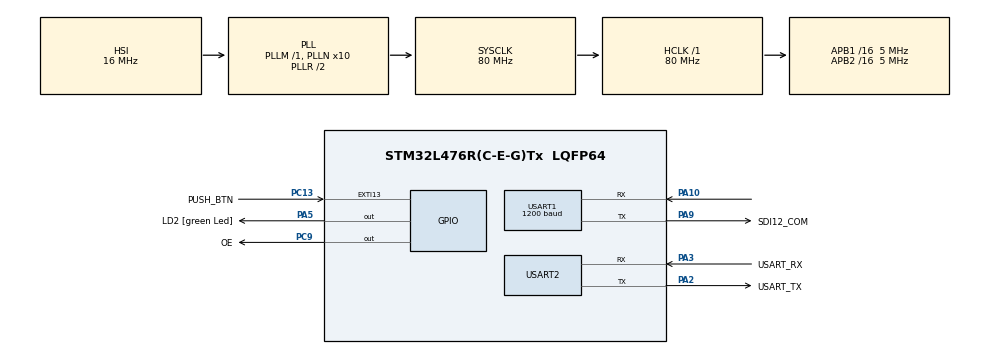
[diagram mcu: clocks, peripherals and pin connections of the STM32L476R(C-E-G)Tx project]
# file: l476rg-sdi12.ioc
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Mcu.Family=STM32L4
Mcu.Name=STM32L476R(C-E-G)Tx
Mcu.Package=LQFP64
NVIC.EXTI15_10_IRQn=true\:0\:0\:false\:false\:true\:true\:true\:true
NVIC.PriorityGroup=NVIC_PRIORITYGROUP_4
NVIC.USART2_IRQn=true\:0\:0\:false\:false\:true\:true\:true\:true
PA10.Mode=Asynchronous
PA10.Signal=USART1_RX
PA13\ (JTMS-SWDIO).GPIO_Label=TMS
PA13\ (JTMS-SWDIO).Mode=Trace_Asynchronous_SW
PA13\ (JTMS-SWDIO).Signal=SYS_JTMS-SWDIO
PA14\ (JTCK-SWCLK).GPIO_Label=TCK
PA14\ (JTCK-SWCLK).Mode=Trace_Asynchronous_SW
PA14\ (JTCK-SWCLK).Signal=SYS_JTCK-SWCLK
PA2.GPIO_Label=USART_TX
PA2.GPIO_Mode=GPIO_MODE_AF_PP
PA2.GPIO_PuPd=GPIO_NOPULL
PA2.GPIO_Speed=GPIO_SPEED_FREQ_VERY_HIGH
PA2.Mode=Asynchronous
PA2.Signal=USART2_TX
PA3.GPIO_Label=USART_RX
PA3.GPIO_Mode=GPIO_MODE_AF_PP
PA3.GPIO_PuPd=GPIO_NOPULL
PA3.GPIO_Speed=GPIO_SPEED_FREQ_VERY_HIGH
PA3.Mode=Asynchronous
PA3.Signal=USART2_RX
PA5.GPIO_Label=LD2 [green Led]
PA5.GPIO_ModeDefaultOutputPP=GPIO_MODE_OUTPUT_PP
PA5.GPIO_PuPd=GPIO_NOPULL
PA5.GPIO_Speed=GPIO_SPEED_FREQ_LOW
PA5.Signal=GPIO_Output
PA9.GPIO_Label=SDI12_COM
PA9.Mode=Asynchronous
PA9.Signal=USART1_TX
PB3\ (JTDO-TRACESWO).GPIO_Label=SWO
PB3\ (JTDO-TRACESWO).Mode=Trace_Asynchronous_SW
PB3\ (JTDO-TRACESWO).Signal=SYS_JTDO-SWO
PC13.GPIO_Label=PUSH_BTN
PC13.Signal=GPXTI13
PC14-OSC32_IN\ (PC14).Mode=LSE-External-Oscillator
PC14-OSC32_IN\ (PC14).Signal=RCC_OSC32_IN
PC15-OSC32_OUT\ (PC15).Mode=LSE-External-Oscillator
PC15-OSC32_OUT\ (PC15).Signal=RCC_OSC32_OUT
PC9.GPIO_Label=OE
PC9.Signal=GPIO_Output
PH0-OSC_IN\ (PH0).Signal=RCC_OSC_IN
PH1-OSC_OUT\ (PH1).Signal=RCC_OSC_OUT
ProjectManager.HeapSize=0x200
ProjectManager.StackSize=0x400
ProjectManager.TargetToolchain=STM32CubeIDE
RCC.ADCFreq_Value=64000000
RCC.AHBFreq_Value=80000000
RCC.APB1CLKDivider=RCC_HCLK_DIV16
RCC.APB1Freq_Value=5000000
RCC.APB1TimFreq_Value=10000000
RCC.APB2CLKDivider=RCC_HCLK_DIV16
RCC.APB2Freq_Value=5000000
RCC.APB2TimFreq_Value=10000000
RCC.CortexFreq_Value=80000000
RCC.HCLKFreq_Value=80000000
RCC.HSE_VALUE=8000000
RCC.HSI_VALUE=16000000
RCC.LPUART1CLockSelection=RCC_LPUART1CLKSOURCE_LSE
RCC.MSI_VALUE=4000000
RCC.PLLN=10
RCC.PLLSourceVirtual=RCC_PLLSOURCE_HSI
RCC.PREFETCH_ENABLE=1
RCC.SYSCLKFreq_VALUE=80000000
RCC.SYSCLKSource=RCC_SYSCLKSOURCE_PLLCLK
RCC.USART2CLockSelection=RCC_USART2CLKSOURCE_SYSCLK
RCC.USBFreq_Value=64000000
RCC.VCOOutputFreq_Value=160000000
USART1.BaudRate=1200
USART1.Parity=PARITY_EVEN
USART1.RxPinLevelInvertParam=ADVFEATURE_RXINV_ENABLE
USART1.SwapParam=ADVFEATURE_SWAP_ENABLE
USART1.TxPinLevelInvertParam=ADVFEATURE_TXINV_ENABLE
USART1.VirtualMode-Asynchronous=VM_ASYNC
USART2.VirtualMode-Asynchronous=VM_ASYNC
board=NUCLEO-L476RG

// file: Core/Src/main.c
/* USER CODE BEGIN Header */
/**
 ******************************************************************************
 * @file           : main.c
 * @brief          : Main program body
 ******************************************************************************
 * @attention
 *
 * Copyright (c) 2022 STMicroelectronics.
 * All rights reserved.
 *
 * This software is licensed under terms that can be found in the LICENSE file
 * in the root directory of this software component.
 * If no LICENSE file comes with this software, it is provided AS-IS.
 *
 ******************************************************************************
 */
/* USER CODE END Header */
#include "main.h"

/* USER CODE BEGIN Includes */
#include "sdi12.h"
#include "sdi12_debug.h"
#include <string.h>
#include <stdio.h>
#include <inttypes.h>
#include <stdbool.h>
#include <time.h>
#include <stdlib.h>
/* USER CODE END Includes */

UART_HandleTypeDef huart1;
UART_HandleTypeDef huart2;

void SystemClock_Config(void);
static void MX_GPIO_Init(void);
static void MX_USART2_UART_Init(void);
static void MX_USART1_UART_Init(void);
/* USER CODE BEGIN PFP */
//void SDI12_Init(UART_HandleTypeDef *huart);
//void SDI12_GetDeviceId(uint8_t *addr);
/* USER CODE END PFP */

/* USER CODE BEGIN 0 */
int _write(int file, char *ptr, int len)
{
	for (int i = 0; i<len; i++)
		ITM_SendChar((*ptr++));
	return len;
}
void send_debug_logs(char *data)
	{
		uint32_t length = strlen(data);
		HAL_UART_Transmit(&huart2, (uint8_t *) data, length, 1000);
		HAL_UART_Transmit(&huart2, (uint8_t *) "\r\n", length, 1000);
	}

/* USER CODE END 0 */

int main(void)
{

  /* MCU Configuration--------------------------------------------------------*/

  /* Reset of all peripherals, Initializes the Flash interface and the Systick. */
  HAL_Init();

  /* Configure the system clock */
  SystemClock_Config();

  /* Initialize all configured peripherals */
  MX_GPIO_Init();
  MX_USART2_UART_Init();
  MX_USART1_UART_Init();
  /* USER CODE BEGIN 2 */

	/*
	 * SDI12 Initliasation
	 */
	SDI12_Init(&huart1);

  /* USER CODE END 2 */

  /* Infinite loop */
  /* USER CODE BEGIN WHILE */
	while (1)
	{
		char addr = '0';

		/*
		 * Measure command (test)
		 */
		SDI12_Measure_TypeDef measurement_info;
		char data[800] = {0};

		//SDI12_AckActive(addr);
		SDI12_StartMeasurement(addr, &measurement_info);
		//HAL_Delay(measurement_info.Time * 1000);
		HAL_Delay(3000);
		SDI12_SendData(addr, &measurement_info, data);

		/*
		 * Verification command (test)
		 */
		//	SDI12_Measure_TypeDef verification_info;
		//	char data[800] = {0};
		//	SDI12_StartVerification(addr, &verification_info);
		//	HAL_Delay(verification_info.Time * 1000); // Requried
		//	SDI12_SendData(addr, &verification_info, data);

		/*
		 * Measure command with CRC (test)
		 */
		//SDI12_Measure_TypeDef measurement_info;
		//char data[800];
		//SDI12_StartMeasurementCRC(addr, &measurement_info);
		//SDI12_SendData(addr, &measurement_info, data);

		HAL_Delay(10000);
    /* USER CODE END WHILE */

	}
}

void SystemClock_Config(void)
{
  RCC_OscInitTypeDef RCC_OscInitStruct = {0};
  RCC_ClkInitTypeDef RCC_ClkInitStruct = {0};

  /** Configure the main internal regulator output voltage
  */
  if (HAL_PWREx_ControlVoltageScaling(PWR_REGULATOR_VOLTAGE_SCALE1) != HAL_OK)
  {
    Error_Handler();
  }

  /** Initializes the RCC Oscillators according to the specified parameters
  * in the RCC_OscInitTypeDef structure.
  */
  RCC_OscInitStruct.OscillatorType = RCC_OSCILLATORTYPE_HSI;
  RCC_OscInitStruct.HSIState = RCC_HSI_ON;
  RCC_OscInitStruct.HSICalibrationValue = RCC_HSICALIBRATION_DEFAULT;
  RCC_OscInitStruct.PLL.PLLState = RCC_PLL_ON;
  RCC_OscInitStruct.PLL.PLLSource = RCC_PLLSOURCE_HSI;
  RCC_OscInitStruct.PLL.PLLM = 1;
  RCC_OscInitStruct.PLL.PLLN = 10;
  RCC_OscInitStruct.PLL.PLLP = RCC_PLLP_DIV7;
  RCC_OscInitStruct.PLL.PLLQ = RCC_PLLQ_DIV2;
  RCC_OscInitStruct.PLL.PLLR = RCC_PLLR_DIV2;
  if (HAL_RCC_OscConfig(&RCC_OscInitStruct) != HAL_OK)
  {
    Error_Handler();
  }

  /** Initializes the CPU, AHB and APB buses clocks
  */
  RCC_ClkInitStruct.ClockType = RCC_CLOCKTYPE_HCLK|RCC_CLOCKTYPE_SYSCLK
                              |RCC_CLOCKTYPE_PCLK1|RCC_CLOCKTYPE_PCLK2;
  RCC_ClkInitStruct.SYSCLKSource = RCC_SYSCLKSOURCE_PLLCLK;
  RCC_ClkInitStruct.AHBCLKDivider = RCC_SYSCLK_DIV1;
  RCC_ClkInitStruct.APB1CLKDivider = RCC_HCLK_DIV16;
  RCC_ClkInitStruct.APB2CLKDivider = RCC_HCLK_DIV16;

  if (HAL_RCC_ClockConfig(&RCC_ClkInitStruct, FLASH_LATENCY_4) != HAL_OK)
  {
    Error_Handler();
  }
}

static void MX_USART1_UART_Init(void)
{

  huart1.Instance = USART1;
  huart1.Init.BaudRate = 1200;
  huart1.Init.WordLength = UART_WORDLENGTH_8B;
  huart1.Init.StopBits = UART_STOPBITS_1;
  huart1.Init.Parity = UART_PARITY_EVEN;
  huart1.Init.Mode = UART_MODE_TX_RX;
  huart1.Init.HwFlowCtl = UART_HWCONTROL_NONE;
  huart1.Init.OverSampling = UART_OVERSAMPLING_16;
  huart1.Init.OneBitSampling = UART_ONE_BIT_SAMPLE_DISABLE;
  huart1.AdvancedInit.AdvFeatureInit = UART_ADVFEATURE_TXINVERT_INIT|UART_ADVFEATURE_RXINVERT_INIT
                              |UART_ADVFEATURE_SWAP_INIT;
  huart1.AdvancedInit.TxPinLevelInvert = UART_ADVFEATURE_TXINV_ENABLE;
  huart1.AdvancedInit.RxPinLevelInvert = UART_ADVFEATURE_RXINV_ENABLE;
  huart1.AdvancedInit.Swap = UART_ADVFEATURE_SWAP_ENABLE;
  if (HAL_UART_Init(&huart1) != HAL_OK)
  {
    Error_Handler();
  }
  /* USER CODE BEGIN USART1_Init 2 */

	// Keep TX as the transmit pin on startup
	huart1.AdvancedInit.Swap = UART_ADVFEATURE_SWAP_DISABLE;
	if (HAL_UART_Init(&huart1) != HAL_OK)
	{
		Error_Handler();
	}

  /* USER CODE END USART1_Init 2 */

}

static void MX_USART2_UART_Init(void)
{

  huart2.Instance = USART2;
  huart2.Init.BaudRate = 115200;
  huart2.Init.WordLength = UART_WORDLENGTH_8B;
  huart2.Init.StopBits = UART_STOPBITS_1;
  huart2.Init.Parity = UART_PARITY_NONE;
  huart2.Init.Mode = UART_MODE_TX_RX;
  huart2.Init.HwFlowCtl = UART_HWCONTROL_NONE;
  huart2.Init.OverSampling = UART_OVERSAMPLING_16;
  huart2.Init.OneBitSampling = UART_ONE_BIT_SAMPLE_DISABLE;
  huart2.AdvancedInit.AdvFeatureInit = UART_ADVFEATURE_NO_INIT;
  if (HAL_UART_Init(&huart2) != HAL_OK)
  {
    Error_Handler();
  }

}

static void MX_GPIO_Init(void)
{
  GPIO_InitTypeDef GPIO_InitStruct = {0};

  /* GPIO Ports Clock Enable */
  __HAL_RCC_GPIOC_CLK_ENABLE();
  __HAL_RCC_GPIOH_CLK_ENABLE();
  __HAL_RCC_GPIOA_CLK_ENABLE();
  __HAL_RCC_GPIOB_CLK_ENABLE();

  /*Configure GPIO pin Output Level */
  HAL_GPIO_WritePin(LD2_GPIO_Port, LD2_Pin, GPIO_PIN_RESET);

  /*Configure GPIO pin Output Level */
  HAL_GPIO_WritePin(OE_GPIO_Port, OE_Pin, GPIO_PIN_RESET);

  /*Configure GPIO pin : PUSH_BTN_Pin */
  GPIO_InitStruct.Pin = PUSH_BTN_Pin;
  GPIO_InitStruct.Mode = GPIO_MODE_IT_RISING;
  GPIO_InitStruct.Pull = GPIO_NOPULL;
  HAL_GPIO_Init(PUSH_BTN_GPIO_Port, &GPIO_InitStruct);

  /*Configure GPIO pin : LD2_Pin */
  GPIO_InitStruct.Pin = LD2_Pin;
  GPIO_InitStruct.Mode = GPIO_MODE_OUTPUT_PP;
  GPIO_InitStruct.Pull = GPIO_NOPULL;
  GPIO_InitStruct.Speed = GPIO_SPEED_FREQ_LOW;
  HAL_GPIO_Init(LD2_GPIO_Port, &GPIO_InitStruct);

  /*Configure GPIO pin : OE_Pin */
  GPIO_InitStruct.Pin = OE_Pin;
  GPIO_InitStruct.Mode = GPIO_MODE_OUTPUT_PP;
  GPIO_InitStruct.Pull = GPIO_NOPULL;
  GPIO_InitStruct.Speed = GPIO_SPEED_FREQ_LOW;
  HAL_GPIO_Init(OE_GPIO_Port, &GPIO_InitStruct);

  /* EXTI interrupt init*/
  HAL_NVIC_SetPriority(EXTI15_10_IRQn, 0, 0);
  HAL_NVIC_EnableIRQ(EXTI15_10_IRQn);

}

/* USER CODE BEGIN 4 */

/*
 * Wrapper around HAL_UART_Transmit() to make it easier to call
 * from other files. Size is dynamic up to 256 bytes.
 */
void debug_output(uint8_t *data, uint8_t size) {
	HAL_UART_Transmit(&huart2, (uint8_t *)data, size, 100);
}

/* USER CODE END 4 */

void Error_Handler(void)
{
	__disable_irq();
	while (1)
	{
	}
}
